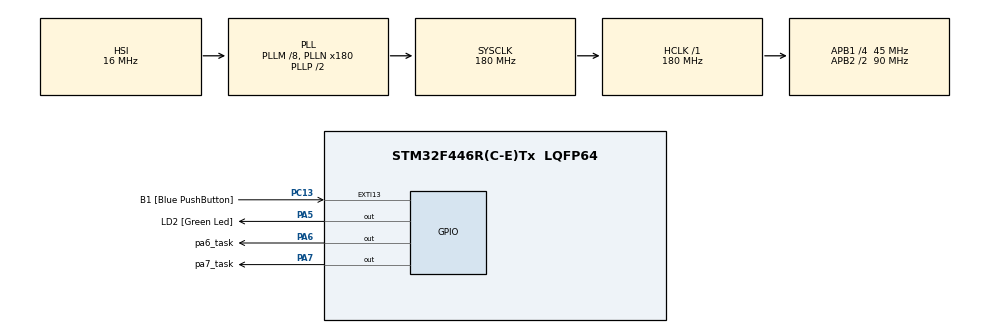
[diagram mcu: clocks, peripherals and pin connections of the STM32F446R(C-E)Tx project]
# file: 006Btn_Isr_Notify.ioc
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Mcu.Family=STM32F4
Mcu.Name=STM32F446R(C-E)Tx
Mcu.Package=LQFP64
NVIC.EXTI15_10_IRQn=true\:6\:0\:true\:false\:true\:true\:true\:true
NVIC.PriorityGroup=NVIC_PRIORITYGROUP_4
NVIC.TIM6_DAC_IRQn=true\:0\:0\:false\:false\:true\:false\:true\:true
NVIC.TimeBase=TIM6_DAC_IRQn
NVIC.TimeBaseIP=TIM6
PA13.GPIO_Label=TMS
PA13.Signal=SYS_JTMS-SWDIO
PA14.GPIO_Label=TCK
PA14.Signal=SYS_JTCK-SWCLK
PA2.GPIO_Label=USART_TX
PA2.Signal=USART2_TX
PA3.GPIO_Label=USART_RX
PA3.Signal=USART2_RX
PA5.GPIO_Label=LD2 [Green Led]
PA5.Signal=GPIO_Output
PA6.GPIO_Label=pa6_task
PA6.Signal=GPIO_Output
PA7.GPIO_Label=pa7_task
PA7.Signal=GPIO_Output
PB3.GPIO_Label=SWO
PB3.Signal=SYS_JTDO-SWO
PC13.GPIO_Label=B1 [Blue PushButton]
PC13.GPIO_ModeDefaultEXTI=GPIO_MODE_IT_FALLING
PC13.Signal=GPXTI13
PC14-OSC32_IN.Signal=RCC_OSC32_IN
PC15-OSC32_OUT.Signal=RCC_OSC32_OUT
PH0-OSC_IN.Signal=RCC_OSC_IN
PH1-OSC_OUT.Signal=RCC_OSC_OUT
ProjectManager.HeapSize=0x200
ProjectManager.StackSize=0x400
ProjectManager.TargetToolchain=STM32CubeIDE
RCC.AHBFreq_Value=180000000
RCC.APB1CLKDivider=RCC_HCLK_DIV4
RCC.APB1Freq_Value=45000000
RCC.APB1TimFreq_Value=90000000
RCC.APB2CLKDivider=RCC_HCLK_DIV2
RCC.APB2Freq_Value=90000000
RCC.APB2TimFreq_Value=180000000
RCC.CortexFreq_Value=180000000
RCC.FLatency-AdvancedSettings=FLASH_LATENCY_5
RCC.HCLKFreq_Value=180000000
RCC.HSE_VALUE=8000000
RCC.HSI_VALUE=16000000
RCC.LSE_VALUE=32768
RCC.PLLM=8
RCC.PLLN=180
RCC.SYSCLKFreq_VALUE=180000000
RCC.SYSCLKSource=RCC_SYSCLKSOURCE_PLLCLK
RCC.USBFreq_Value=180000000
RCC.VCOOutputFreq_Value=360000000
VP_SYS_VS_tim6.Mode=TIM6
board=NUCLEO-F446RE

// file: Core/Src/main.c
/* USER CODE BEGIN Header */
/**
  ******************************************************************************
  * @file           : main.c
  * @brief          : Main program body
  ******************************************************************************
  * @attention
  *
  * Copyright (c) 2025 STMicroelectronics.
  * All rights reserved.
  *
  * This software is licensed under terms that can be found in the LICENSE file
  * in the root directory of this software component.
  * If no LICENSE file comes with this software, it is provided AS-IS.
  *
  ******************************************************************************
  */
/* USER CODE END Header */
#include "main.h"

/* USER CODE BEGIN Includes */
#include "FreeRTOS.h"
#include "task.h"
#include <stdint.h>
/* USER CODE END Includes */

/* USER CODE BEGIN PD */
#define DWT_CTRL_REG 		(*(volatile uint32_t *)0xE0001000)
/* USER CODE END PD */

/* USER CODE BEGIN PV */
TaskHandle_t volatile nextTaskToBeSuspended_Handle = NULL;
TaskHandle_t led_Handle, gpioA6_Handle, gpioA7_Handle, btn_Handle;

/* USER CODE END PV */

void SystemClock_Config(void);
static void MX_GPIO_Init(void);
/* USER CODE BEGIN PFP */
static void user_led_handler (void *param);
static void gpioA_pin6_handler (void *param);
static void gpioA_pin7_handler(void *param);
//static void btn_handler(void *param);

void btn_interrupt_handler(void);

extern  void SEGGER_UART_init(uint32_t);
/* USER CODE END PFP */

int main(void)
{

  /* USER CODE BEGIN 1 */
	BaseType_t status;

  /* USER CODE END 1 */

  /* MCU Configuration--------------------------------------------------------*/

  /* Reset of all peripherals, Initializes the Flash interface and the Systick. */
  HAL_Init();

  /* Configure the system clock */
  SystemClock_Config();

  /* Initialize all configured peripherals */
  MX_GPIO_Init();
  /* USER CODE BEGIN 2 */
  //Enable the Data watch
  DWT_CTRL_REG |= (1 << 0);

  //Enable Segger uart continuous record
  SEGGER_UART_init(500000);

  //Enable Segger and call
  SEGGER_SYSVIEW_Conf();
  //SEGGER_SYSVIEW_Start();

  status = xTaskCreate(user_led_handler, "User_LED", 200, NULL, 3, &led_Handle);
  configASSERT(status == pdPASS);

  nextTaskToBeSuspended_Handle = led_Handle;

  status = xTaskCreate(gpioA_pin6_handler, "portA6_Toggle", 200, NULL, 2, &gpioA6_Handle);
  configASSERT(status == pdPASS);

  status = xTaskCreate(gpioA_pin7_handler, "portA&_Toggle", 200, NULL, 1, &gpioA7_Handle);
  configASSERT(status == pdPASS);

  //status = xTaskCreate(btn_handler, "Button Press", 200, NULL, 4, &btn_Handle);
  //configASSERT(status == pdPASS);

  //start the freertos scheduler
  vTaskStartScheduler();

  //if control comes here means there is not enough heap memory to launch the scheduler

  /* USER CODE END 2 */

  /* Infinite loop */
  while (1)
  {

  }
}

void SystemClock_Config(void)
{
  RCC_OscInitTypeDef RCC_OscInitStruct = {0};
  RCC_ClkInitTypeDef RCC_ClkInitStruct = {0};

  /** Configure the main internal regulator output voltage
  */
  __HAL_RCC_PWR_CLK_ENABLE();
  __HAL_PWR_VOLTAGESCALING_CONFIG(PWR_REGULATOR_VOLTAGE_SCALE1);

  /** Initializes the RCC Oscillators according to the specified parameters
  * in the RCC_OscInitTypeDef structure.
  */
  RCC_OscInitStruct.OscillatorType = RCC_OSCILLATORTYPE_HSI;
  RCC_OscInitStruct.HSIState = RCC_HSI_ON;
  RCC_OscInitStruct.HSICalibrationValue = RCC_HSICALIBRATION_DEFAULT;
  RCC_OscInitStruct.PLL.PLLState = RCC_PLL_ON;
  RCC_OscInitStruct.PLL.PLLSource = RCC_PLLSOURCE_HSI;
  RCC_OscInitStruct.PLL.PLLM = 8;
  RCC_OscInitStruct.PLL.PLLN = 180;
  RCC_OscInitStruct.PLL.PLLP = RCC_PLLP_DIV2;
  RCC_OscInitStruct.PLL.PLLQ = 2;
  RCC_OscInitStruct.PLL.PLLR = 2;
  if (HAL_RCC_OscConfig(&RCC_OscInitStruct) != HAL_OK)
  {
    Error_Handler();
  }

  /** Activate the Over-Drive mode
  */
  if (HAL_PWREx_EnableOverDrive() != HAL_OK)
  {
    Error_Handler();
  }

  /** Initializes the CPU, AHB and APB buses clocks
  */
  RCC_ClkInitStruct.ClockType = RCC_CLOCKTYPE_HCLK|RCC_CLOCKTYPE_SYSCLK
                              |RCC_CLOCKTYPE_PCLK1|RCC_CLOCKTYPE_PCLK2;
  RCC_ClkInitStruct.SYSCLKSource = RCC_SYSCLKSOURCE_PLLCLK;
  RCC_ClkInitStruct.AHBCLKDivider = RCC_SYSCLK_DIV1;
  RCC_ClkInitStruct.APB1CLKDivider = RCC_HCLK_DIV4;
  RCC_ClkInitStruct.APB2CLKDivider = RCC_HCLK_DIV2;

  if (HAL_RCC_ClockConfig(&RCC_ClkInitStruct, FLASH_LATENCY_5) != HAL_OK)
  {
    Error_Handler();
  }
}

static void MX_GPIO_Init(void)
{
  GPIO_InitTypeDef GPIO_InitStruct = {0};
  /* USER CODE BEGIN MX_GPIO_Init_1 */
  //GPIO_InitTypeDef GPIO_InitTask = {0};
  /* USER CODE END MX_GPIO_Init_1 */

  /* GPIO Ports Clock Enable */
  __HAL_RCC_GPIOC_CLK_ENABLE();
  __HAL_RCC_GPIOH_CLK_ENABLE();
  __HAL_RCC_GPIOA_CLK_ENABLE();
  __HAL_RCC_GPIOB_CLK_ENABLE();

  /*Configure GPIO pin Output Level */
  HAL_GPIO_WritePin(GPIOA, LD2_Pin|pa6_task_Pin|pa7_task_Pin, GPIO_PIN_RESET);

  /*Configure GPIO pin : B1_Pin */
  GPIO_InitStruct.Pin = B1_Pin;
  GPIO_InitStruct.Mode = GPIO_MODE_IT_FALLING;
  GPIO_InitStruct.Pull = GPIO_NOPULL;
  HAL_GPIO_Init(B1_GPIO_Port, &GPIO_InitStruct);

  /*Configure GPIO pins : USART_TX_Pin USART_RX_Pin */
  GPIO_InitStruct.Pin = USART_TX_Pin|USART_RX_Pin;
  GPIO_InitStruct.Mode = GPIO_MODE_AF_PP;
  GPIO_InitStruct.Pull = GPIO_NOPULL;
  GPIO_InitStruct.Speed = GPIO_SPEED_FREQ_VERY_HIGH;
  GPIO_InitStruct.Alternate = GPIO_AF7_USART2;
  HAL_GPIO_Init(GPIOA, &GPIO_InitStruct);

  /*Configure GPIO pins : LD2_Pin pa6_task_Pin pa7_task_Pin */
  GPIO_InitStruct.Pin = LD2_Pin|pa6_task_Pin|pa7_task_Pin;
  GPIO_InitStruct.Mode = GPIO_MODE_OUTPUT_PP;
  GPIO_InitStruct.Pull = GPIO_NOPULL;
  GPIO_InitStruct.Speed = GPIO_SPEED_FREQ_LOW;
  HAL_GPIO_Init(GPIOA, &GPIO_InitStruct);

  /* EXTI interrupt init*/
  HAL_NVIC_SetPriority(EXTI15_10_IRQn, 6, 0);
  HAL_NVIC_EnableIRQ(EXTI15_10_IRQn);

  /* USER CODE BEGIN MX_GPIO_Init_2 */
  //GPIO_InitTask.Mode = GPIO_MODE_OUTPUT_PP;
  //GPIO_InitTask.Pin = GPIO_PIN_5 | GPIO_PIN_6 | GPIO_PIN_7;

  //HAL_GPIO_Init(GPIOA, &GPIO_InitTask);

  /* USER CODE END MX_GPIO_Init_2 */
}

/* USER CODE BEGIN 4 */

void btn_interrupt_handler(void){
	 BaseType_t  pxHigherPriorityTaskWoken;
	 pxHigherPriorityTaskWoken = pdFALSE;

	traceISR_ENTER();
	xTaskNotifyFromISR(nextTaskToBeSuspended_Handle, 0, eNoAction, &pxHigherPriorityTaskWoken);

	/* once the isr exists this macro makes the higher priority task which got unblocked to resume on the cpu */
	portYIELD_FROM_ISR(pxHigherPriorityTaskWoken);
	traceISR_EXIT();

}

void user_led_handler(void *param){
	BaseType_t status;

	while(1){
		HAL_GPIO_TogglePin(GPIOA, GPIO_PIN_5);
		SEGGER_SYSVIEW_PrintfTarget("user_led_task");
		status = xTaskNotifyWait(0, 0, NULL, pdMS_TO_TICKS(1000));
		if(status == pdPASS){
			portENTER_CRITICAL();
			nextTaskToBeSuspended_Handle = gpioA6_Handle;
			portEXIT_CRITICAL();
			HAL_GPIO_WritePin(GPIOA,GPIO_PIN_5, GPIO_PIN_SET);
			SEGGER_SYSVIEW_PrintfTarget("Delete user_led_task");
			vTaskDelete(NULL);
		}
	}

}

void gpioA_pin6_handler(void *param){
	BaseType_t status;

	while(1){
		HAL_GPIO_TogglePin(GPIOA, GPIO_PIN_6);
		SEGGER_SYSVIEW_PrintfTarget("gpioa6_task");
		status = xTaskNotifyWait(0, 0, NULL, pdMS_TO_TICKS(800));
		//taskYIELD();
		if(status == pdPASS){
			portENTER_CRITICAL();
			nextTaskToBeSuspended_Handle = gpioA7_Handle;
			portEXIT_CRITICAL();
			HAL_GPIO_WritePin(GPIOA,GPIO_PIN_6, GPIO_PIN_SET);
			SEGGER_SYSVIEW_PrintfTarget("Delete gpioa6_task");
			vTaskDelete(NULL);
		}
	}

}

void gpioA_pin7_handler(void *param){
	BaseType_t status;

	while(1){
		HAL_GPIO_TogglePin(GPIOA, GPIO_PIN_7);
		SEGGER_SYSVIEW_PrintfTarget("gpioa7_task");
		status = xTaskNotifyWait(0, 0, NULL, pdMS_TO_TICKS(400));
		if(status == pdPASS){
			portENTER_CRITICAL();
			nextTaskToBeSuspended_Handle = NULL;
			portEXIT_CRITICAL();
			HAL_GPIO_WritePin(GPIOA,GPIO_PIN_7, GPIO_PIN_SET);
			vTaskDelete(btn_Handle);
			SEGGER_SYSVIEW_PrintfTarget("Delete gpioa6_task and button task");
			vTaskDelete(NULL);
		}

	}

}

#if 0
void btn_handler(void *param){

	static uint8_t prev_read = 1;
	uint8_t read = 1;
	while(1){

		read = HAL_GPIO_ReadPin(GPIOC, GPIO_PIN_13);
		if( !read){
			if(prev_read){
				xTaskNotify(nextTaskToBeDeleted_Handle, 0, eNoAction);
			}

		}
		prev_read = read;
		SEGGER_SYSVIEW_PrintfTarget("btn_task");
		vTaskDelay(pdMS_TO_TICKS(10));
		//taskYIELD();
	}

}
#endif
/* USER CODE END 4 */

void HAL_TIM_PeriodElapsedCallback(TIM_HandleTypeDef *htim)
{
  if (htim->Instance == TIM6)
  {
    HAL_IncTick();
  }
}

void Error_Handler(void)
{
  __disable_irq();
  while (1)
  {
  }
}
